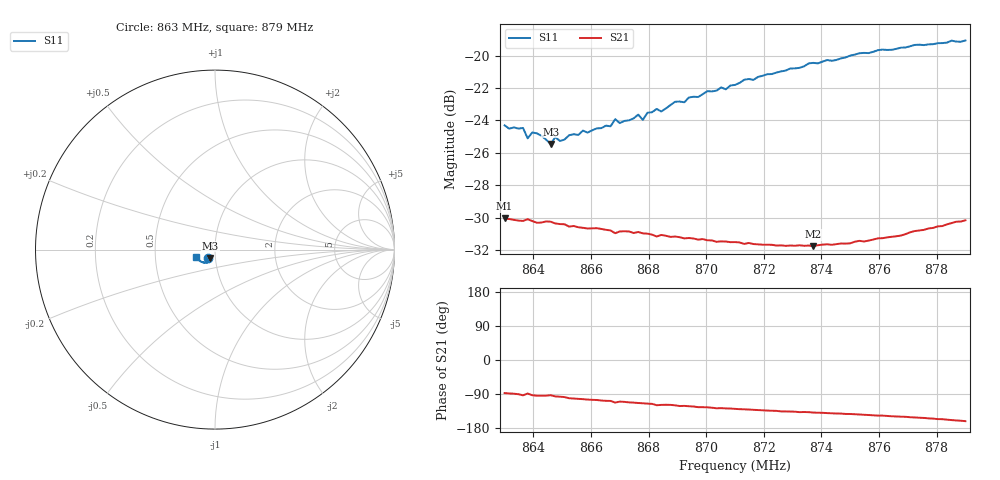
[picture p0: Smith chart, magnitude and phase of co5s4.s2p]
# HZ S RI R 50
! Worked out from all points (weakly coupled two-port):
!   101 points, 863 MHz to 879 MHz, reference 50 ohm
!   highest |S21| = -30.06 dB at 863 MHz (marker M1); lowest = -31.8 dB at 873.72 MHz (marker M2)
!   lowest |S11| = -25.5 dB at 864.6 MHz (marker M3), VSWR 1.11, Z = 47.2 - j4.38 ohm
!   |S11| at or under -10 dB: start of sweep to end of sweep
!   S12 and S22 are empty: the file has one direction only
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8.63e8  -0.0415 -0.0446  0.00152 -0.0314  0 0  0 0
8.6364e8  -0.0398 -0.0447  -0.00172 -0.0308  0 0  0 0
8.638e8  -0.0324 -0.0452  0.00086 -0.0312  0 0  0 0
8.6396e8  -0.0369 -0.0446  -0.00164 -0.0308  0 0  0 0
8.6412e8  -0.0364 -0.0447  -0.00222 -0.0304  0 0  0 0
8.646e8  -0.0267 -0.0462  -0.0016 -0.0307  0 0  0 0
8.6476e8  -0.03 -0.0473  -0.0032 -0.0301  0 0  0 0
8.6492e8  -0.0289 -0.0462  -0.0036 -0.03  0 0  0 0
8.6572e8  -0.0292 -0.051  -0.00678 -0.0286  0 0  0 0
8.6668e8  -0.0269 -0.0542  -0.00893 -0.0274  0 0  0 0
8.6684e8  -0.03 -0.0562  -0.0108 -0.0262  0 0  0 0
8.67e8  -0.0277 -0.0554  -0.0097 -0.027  0 0  0 0
8.6764e8  -0.0293 -0.0589  -0.0114 -0.0262  0 0  0 0
8.678e8  -0.0271 -0.0573  -0.0116 -0.0258  0 0  0 0
8.6796e8  -0.0287 -0.0602  -0.012 -0.0255  0 0  0 0
8.6844e8  -0.0305 -0.06  -0.0133 -0.0246  0 0  0 0
8.6892e8  -0.0314 -0.0649  -0.0137 -0.024  0 0  0 0
8.6924e8  -0.0318 -0.0644  -0.0141 -0.0233  0 0  0 0
8.71e8  -0.0412 -0.0701  -0.0167 -0.0206  0 0  0 0
8.7372e8  -0.0606 -0.0733  -0.0194 -0.017  0 0  0 0
8.7644e8  -0.0837 -0.0623  -0.0235 -0.0144  0 0  0 0
8.79e8  -0.1032 -0.0424  -0.0294 -0.00988  0 0  0 0
